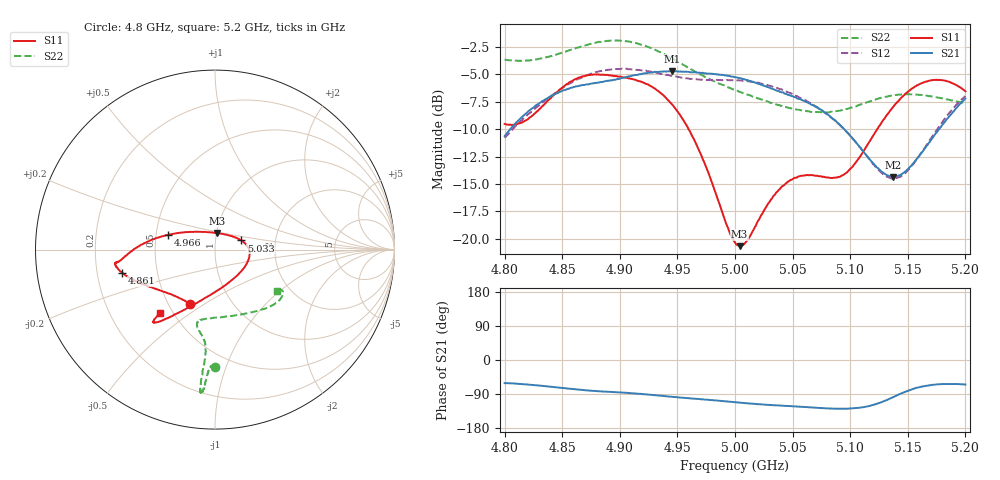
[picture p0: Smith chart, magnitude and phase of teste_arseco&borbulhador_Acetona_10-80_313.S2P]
! Network Analyzer HP8722D
! Hewlett-Packard
! Data name: Linha & Wilkinson
! Saver's name: Rodrigo Anjos
! Comments: Teste da utilização de aquisição
! continua pelo VNA HP8722D
! Time and date: 17/4/2025 16:58
!  Frequency  S11  S21  S12  S22
# HZ  S  MA R 50
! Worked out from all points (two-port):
!   401 points, 4.8 GHz to 5.2 GHz, reference 50 ohm
!   highest |S21| = -4.71 dB at 4.945 GHz (marker M1); lowest = -14.4 dB at 5.137 GHz (marker M2)
!   |S21| within 3 dB of the highest: 4.829 GHz to 5.065 GHz (236.3 MHz wide, 4.78 % of centre); 5.195165 GHz to end of sweep
!   lowest |S11| = -20.7 dB at 5.004 GHz (marker M3), VSWR 1.20, Z = 50.1 + j9.3 ohm
!   |S11| at or under -10 dB: 4.96 GHz to 5.123 GHz (163.7 MHz wide, 3.25 % of centre)
!   |S22| runs from -8.5 to -1.9 dB; largest |S21 - S12| = 0.87
!   S11 on the Smith chart (normalised r, x): 4.8 GHz: 0.64, -0.44; 4.861 GHz: 0.31, -0.11; 4.966 GHz: 0.58, +0.10; 5.033 GHz: 1.34, +0.14; 5.2 GHz: 0.42, -0.39
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4.8e9  0.3341 -114.2  0.2939 -61.0  0.2887 -175.1  0.6563 -90.2
4.819e9  0.3483 -134.0  0.3741 -64.6  0.3637 -174.0  0.6514 -91.9
4.861e9  0.5342 -166.0  0.4934 -77.3  0.528 -177.2  0.7377 -94.1
4.867e9  0.5494 -168.3  0.5022 -79.1  0.5445 -178.3  0.7561 -94.3
4.899e9  0.5498 -172.8  0.5352 -85.6  0.5953 175.0  0.8022 -95.6
4.934e9  0.4693 -178.6  0.5775 -93.9  0.5683 171.5  0.7135 -96.0
4.945e9  0.4131 176.2  0.5815 -97.0  0.5552 171.6  0.6666 -95.7
4.966e9  0.2726 162.5  0.5743 -102.4  0.5341 173.5  0.5755 -95.2
5e9  0.09639 98.5  0.5461 -111.5  0.5297 175.7  0.4774 -99.2
5.004e9  0.09248 83.8  0.5407 -112.5  0.5276 175.8  0.4685 -100.2
5.012e9  0.1006 57.2  0.5262 -114.6  0.5219 175.6  0.4524 -101.8
5.033e9  0.1557 19.1  0.4826 -119.2  0.4935 174.5  0.4147 -103.3
5.049e9  0.186 2.9  0.4477 -121.9  0.4601 173.9  0.3935 -99.8
5.067e9  0.1951 -16.4  0.4086 -125.3  0.4127 173.5  0.379 -90.1
5.096e9  0.199 -67.1  0.3111 -128.6  0.3111 174.5  0.3901 -67.6
5.123e9  0.3138 -108.7  0.212 -115.7  0.2111 -170.3  0.4338 -48.5
5.134e9  0.3797 -117.5  0.1929 -102.7  0.1899 -155.5  0.4482 -43.1
5.137e9  0.3981 -119.3  0.1915 -98.5  0.1884 -150.8  0.451 -41.7
5.149e9  0.4639 -124.5  0.2055 -82.4  0.2025 -132.2  0.4568 -37.2
5.17e9  0.5279 -129.5  0.2813 -66.0  0.2867 -112.2  0.4468 -32.1
5.184e9  0.5233 -130.8  0.3524 -63.2  0.3636 -107.5  0.4327 -31.2
5.2e9  0.4708 -131.0  0.4356 -64.7  0.4481 -106.9  0.4152 -33.6
